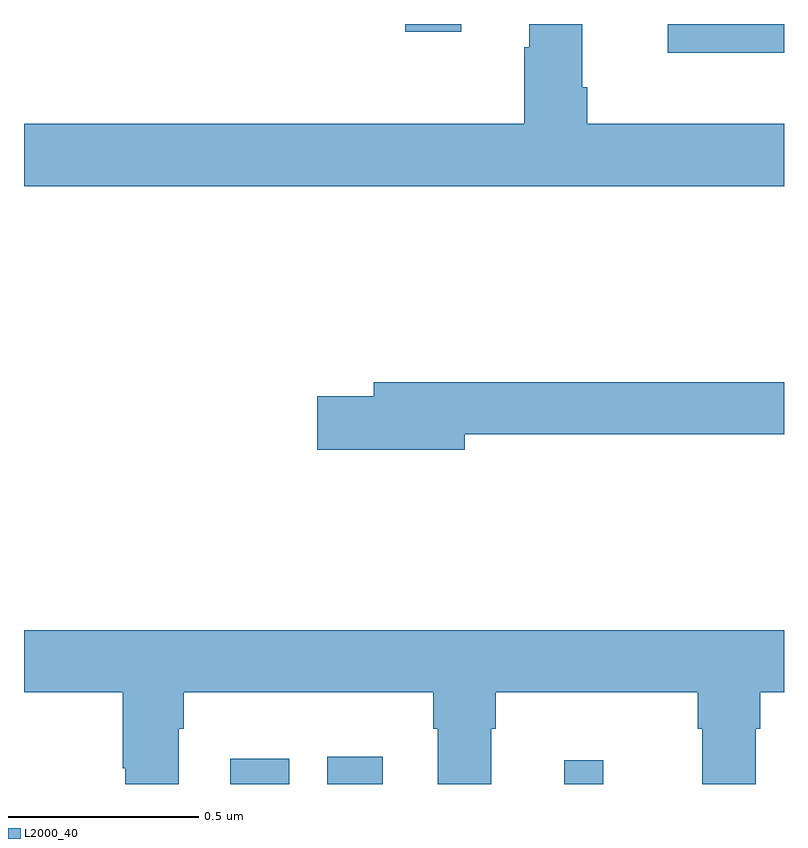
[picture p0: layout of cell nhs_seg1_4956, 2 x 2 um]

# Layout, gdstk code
import gdstk
lib = gdstk.Library(unit=1e-6, precision=1e-09)
def R(c, l, rs):  # rectangles x0, y0, x1, y1
    for r in rs: c.add(gdstk.rectangle(r[:2], r[2:], *l))
def P(c, l, *ps):  # polygons
    for p in ps: c.add(gdstk.Polygon(p, *l))
L2000_40 = (2000, 40)

nhs_seg1_4956 = lib.new_cell('nhs_seg1_4956')
R(nhs_seg1_4956, L2000_40, [(173.543,510.199,173.698,510.265), (173.798,510.199,173.944,510.271), (174.422,510.199,174.524,510.262), (174.694,512.123,175,512.199), (174.003,512.178,174.151,512.199)])
P(nhs_seg1_4956, L2000_40, [(175,511.936),(174.482,511.936),(174.482,512.032),(174.469,512.032),(174.469,512.199),(174.329,512.199),(174.329,512.138),(174.317,512.138),(174.317,511.936),(173,511.936),(173,511.772),(175,511.772)],
  [(174.16,511.12),(175,511.12),(175,511.256),(173.921,511.256),(173.921,511.22),(173.772,511.22),(173.772,511.078),(174.16,511.078)],
  [(173.407,510.344),(173.42,510.344),(173.42,510.44),(174.077,510.44),(174.077,510.344),(174.089,510.344),(174.089,510.199),(174.229,510.199),(174.229,510.344),(174.242,510.344),(174.242,510.44),(174.773,510.44),(174.773,510.344),(174.785,510.344),(174.785,510.199),(174.925,510.199),(174.925,510.344),(174.938,510.344),(174.938,510.44),(175,510.44),(175,510.604),(173,510.604),(173,510.44),(173.26,510.44),(173.26,510.241),(173.267,510.241),(173.267,510.199),(173.407,510.199)])

lib.write_gds('nhs_seg1_4956.gds')
